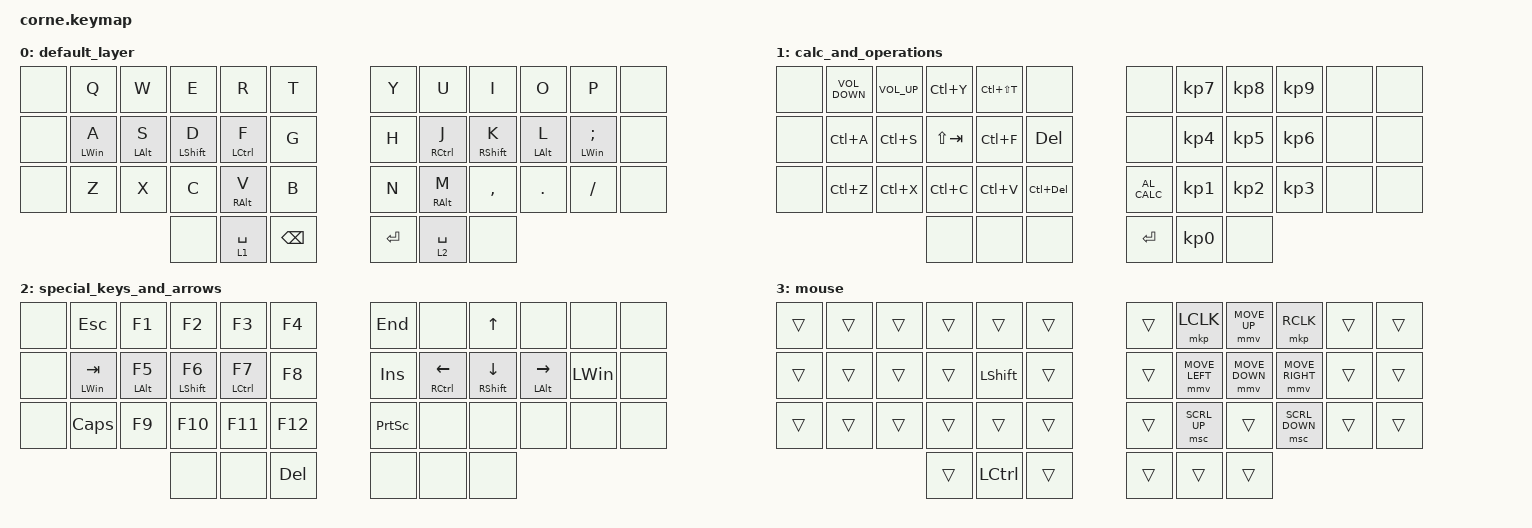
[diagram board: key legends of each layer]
/*
 * Copyright (c) 2020 The ZMK Contributors
 *
 * SPDX-License-Identifier: MIT
 */

#define ZMK_POINTING_DEFAULT_MOVE_VAL 800  // default: 600
#define ZMK_POINTING_DEFAULT_SCRL_VAL 20    // default: 10

#include <behaviors.dtsi>
#include <dt-bindings/zmk/keys.h>
#include <dt-bindings/zmk/pointing.h>

/ {
    combos {
        compatible = "zmk,combos";

        combo_left_bracket {
            bindings = <&kp LEFT_BRACKET>;
            key-positions = <9 10>;
        };

        combo_single_quote {
            bindings = <&kp SINGLE_QUOTE>;
            key-positions = <21 22>;
        };
    };

    behaviors {
        ss_hs_modmorph: ss_hs_modmorph {
            compatible = "zmk,behavior-mod-morph";
            label = "SS_HS_MODMORPH";
            bindings = <&kp M>, <&kp RIGHT_BRACKET>;

            #binding-cells = <0>;
            mods = <(MOD_LSFT|MOD_RSFT)>;
        };

        kh_hs_tapdance: kh_hs_tapdance {
            compatible = "zmk,behavior-tap-dance";
            label = "KH_HS_TAPDANCE";
            #binding-cells = <0>;
            tapping-term-ms = <200>;
            bindings = <&kp LEFT_BRACKET>, <&kp RIGHT_BRACKET>;
        };

        hrm: hrm {
            compatible = "zmk,behavior-hold-tap";
            #binding-cells = <2>;
            flavor = "tap-preferred";
            tapping-term-ms = <200>;
            quick-tap-ms = <200>;
            require-prior-idle-ms = <125>;
            bindings = <&kp>, <&kp>;
        };

        hrm_with_layers: hrm_with_layers {
            compatible = "zmk,behavior-hold-tap";
            #binding-cells = <2>;
            flavor = "tap-preferred";
            tapping-term-ms = <200>;
            quick-tap-ms = <200>;
            require-prior-idle-ms = <125>;
            label = "HRM_WITH_LAYERS";
            bindings = <&mo>, <&kp>;
        };
    };

    keymap {
        compatible = "zmk,keymap";

        default_layer {
            // -----------------------------------------------------------------------------------------
            // |  TAB |  Q  |  W  |  E  |  R  |  T  |   |  Y  |  U   |  I  |  O  |  P  | BKSP |
            // | CTRL |  A  |  S  |  D  |  F  |  G  |   |  H  |  J   |  K  |  L  |  ;  |  '   |
            // | SHFT |  Z  |  X  |  C  |  V  |  B  |   |  N  |  M   |  ,  |  .  |  /  | ESC  |
            //                    | GUI | LWR | SPC |   | ENT | RSE  | ALT |

            bindings = <
&none  &kp Q            &kp W            &kp E              &kp R             &kp T            &kp Y      &kp U             &kp I               &kp O            &kp P                    &none
&none  &hrm LEFT_WIN A  &hrm LEFT_ALT S  &hrm LEFT_SHIFT D  &hrm LCTRL F      &kp G            &kp H      &hrm RCTRL J      &hrm RIGHT_SHIFT K  &hrm LEFT_ALT L  &hrm LEFT_WIN SEMICOLON  &none
&none  &kp Z            &kp X            &kp C              &hrm RIGHT_ALT V  &kp B            &kp N      &hrm RIGHT_ALT M  &kp COMMA           &kp DOT          &kp SLASH                &none
                                         &none              &lt 1 SPACE       &kp BACKSPACE    &kp ENTER  &lt 2 SPACE       &none
            >;
        };

        calc_and_operations {
            bindings = <
&none  &kp C_VOLUME_DOWN  &kp C_VOLUME_UP  &kp LC(Y)    &kp LC(LS(T))  &none             &none          &kp KP_NUMBER_7  &kp KP_NUMBER_8  &kp KP_NUMBER_9  &none  &none
&none  &kp LC(A)          &kp LC(S)        &kp LS(TAB)  &kp LC(F)      &kp DELETE        &none          &kp KP_NUMBER_4  &kp KP_NUMBER_5  &kp KP_NUMBER_6  &none  &none
&none  &kp LC(Z)          &kp LC(X)        &kp LC(C)    &kp LC(V)      &kp LC(DELETE)    &kp C_AL_CALC  &kp KP_NUMBER_1  &kp KP_NUMBER_2  &kp KP_NUMBER_3  &none  &none
                                           &none        &none          &none             &kp ENTER      &kp KP_NUMBER_0  &none
            >;
        };

        special_keys_and_arrows {
            // -----------------------------------------------------------------------------------------
            // |  TAB |  !  |  @  |  #  |  $  |  %  |   |  ^  |  &  |  *  |  (  |  )  | BKSP |
            // | CTRL |     |     |     |     |     |   |  -  |  =  |  [  |  ]  |  \  |  `   |
            // | SHFT |     |     |     |     |     |   |  _  |  +  |  {  |  }  | "|" |  ~   |
            //                    | GUI |     | SPC |   | ENT |     | ALT |

            bindings = <
&none  &kp ESCAPE         &kp F1            &kp F2              &kp F3                &kp F4        &kp END          &none                          &kp UP_ARROW                 &none                      &none         &none
&none  &hrm LEFT_WIN TAB  &hrm LEFT_ALT F5  &hrm LEFT_SHIFT F6  &hrm LEFT_CONTROL F7  &kp F8        &kp INSERT       &hrm RIGHT_CONTROL LEFT_ARROW  &hrm RIGHT_SHIFT DOWN_ARROW  &hrm LEFT_ALT RIGHT_ARROW  &kp LEFT_WIN  &none
&none  &kp CAPSLOCK       &kp F9            &kp F10             &kp F11               &kp F12       &kp PRINTSCREEN  &none                          &none                        &none                      &none         &none
                                            &none               &none                 &kp DELETE    &none            &none                          &none
            >;
        };

        mouse {
            bindings = <
&trans  &trans  &trans  &trans  &trans      &trans    &trans  &mkp LCLK       &mmv MOVE_UP    &mkp RCLK        &trans  &trans
&trans  &trans  &trans  &trans  &kp LSHIFT  &trans    &trans  &mmv MOVE_LEFT  &mmv MOVE_DOWN  &mmv MOVE_RIGHT  &trans  &trans
&trans  &trans  &trans  &trans  &trans      &trans    &trans  &msc SCRL_UP    &trans          &msc SCRL_DOWN   &trans  &trans
                        &trans  &kp LCTRL   &trans    &trans  &trans          &trans
            >;
        };
    };

    conditional_layers { compatible = "zmk,conditional-layers"; };
};
